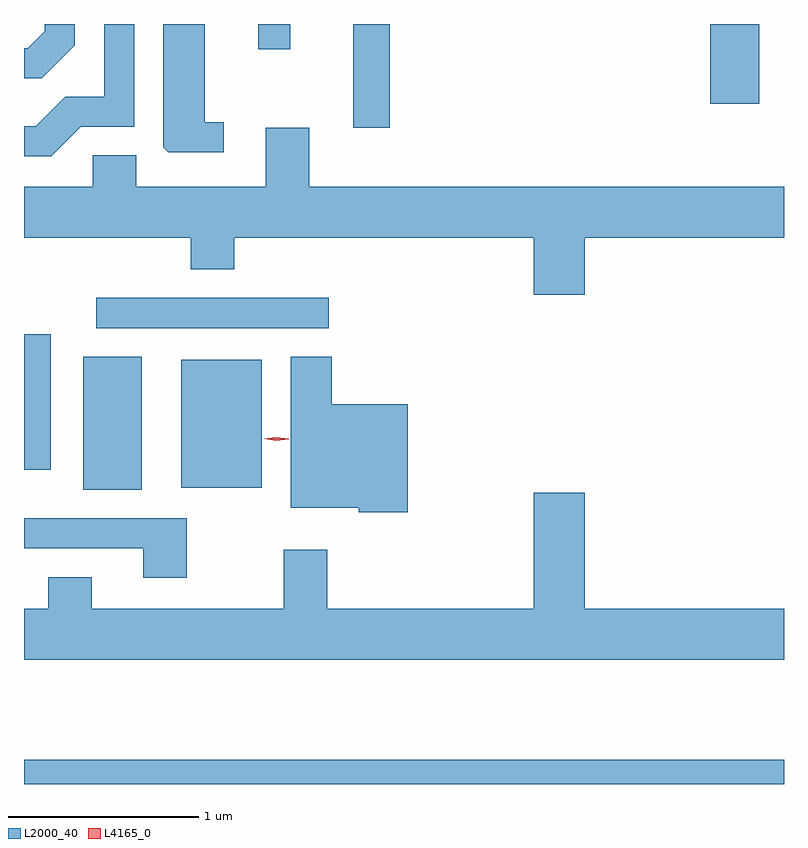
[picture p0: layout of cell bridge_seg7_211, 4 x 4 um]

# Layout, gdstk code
import gdstk
lib = gdstk.Library(unit=1e-6, precision=1e-09)
def R(c, l, rs):  # rectangles x0, y0, x1, y1
    for r in rs: c.add(gdstk.rectangle(r[:2], r[2:], *l))
def P(c, l, *ps):  # polygons
    for p in ps: c.add(gdstk.Polygon(p, *l))
L2000_40 = (2000, 40)
L4165_0 = (4165, 0)

bridge_seg7_211 = lib.new_cell('bridge_seg7_211')
R(bridge_seg7_211, L2000_40, [(1551.053,1726.981,1555.053,1727.109), (1551.366,1728.531,1551.674,1729.229), (1551.881,1728.541,1552.304,1729.214), (1551.053,1728.636,1551.194,1729.349), (1551.433,1729.381,1552.658,1729.539), (1552.786,1730.436,1552.979,1730.981), (1554.666,1730.561,1554.924,1730.981), (1552.286,1730.848,1552.454,1730.981)])
P(bridge_seg7_211, L2000_40, [(1551.319,1730.869),(1551.319,1730.981),(1551.161,1730.981),(1551.161,1730.942),(1551.074,1730.854),(1551.053,1730.854),(1551.053,1730.696),(1551.147,1730.696)],
  [(1551.352,1730.441),(1551.634,1730.441),(1551.634,1730.981),(1551.476,1730.981),(1551.476,1730.599),(1551.269,1730.599),(1551.114,1730.444),(1551.053,1730.444),(1551.053,1730.286),(1551.197,1730.286)],
  [(1552.103,1730.464),(1552.004,1730.464),(1552.004,1730.981),(1551.786,1730.981),(1551.786,1730.332),(1551.812,1730.306),(1552.103,1730.306)],
  [(1554.004,1729.856),(1555.053,1729.856),(1555.053,1730.124),(1552.554,1730.124),(1552.554,1730.434),(1552.326,1730.434),(1552.326,1730.124),(1551.644,1730.124),(1551.644,1730.289),(1551.416,1730.289),(1551.416,1730.124),(1551.053,1730.124),(1551.053,1729.856),(1551.931,1729.856),(1551.931,1729.691),(1552.159,1729.691),(1552.159,1729.856),(1553.736,1729.856),(1553.736,1729.556),(1554.004,1729.556)],
  [(1553.074,1728.979),(1552.674,1728.979),(1552.674,1729.229),(1552.456,1729.229),(1552.456,1728.436),(1552.816,1728.436),(1552.816,1728.411),(1553.074,1728.411)],
  [(1555.053,1727.904),(1554.004,1727.904),(1554.004,1728.514),(1553.736,1728.514),(1553.736,1727.904),(1552.649,1727.904),(1552.649,1728.214),(1552.421,1728.214),(1552.421,1727.904),(1551.409,1727.904),(1551.409,1728.069),(1551.181,1728.069),(1551.181,1727.904),(1551.053,1727.904),(1551.053,1727.636),(1555.053,1727.636)],
  [(1551.909,1728.379),(1551.053,1728.379),(1551.053,1728.221),(1551.681,1728.221),(1551.681,1728.066),(1551.909,1728.066)])
P(bridge_seg7_211, L4165_0, [(1552.38,1728.788),(1552.314,1728.797),(1552.314,1728.798),(1552.314,1728.798),(1552.38,1728.807),(1552.446,1728.798),(1552.446,1728.797),(1552.446,1728.796)])

lib.write_gds('bridge_seg7_211.gds')
